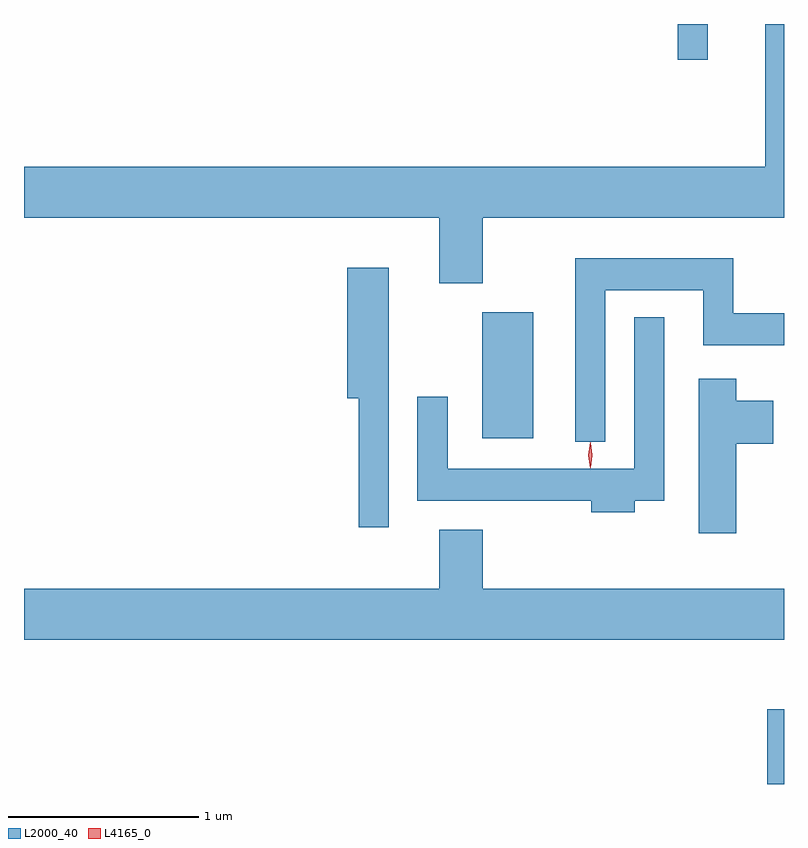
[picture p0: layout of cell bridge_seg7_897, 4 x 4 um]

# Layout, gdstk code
import gdstk
lib = gdstk.Library(unit=1e-6, precision=1e-09)
def R(c, l, rs):  # rectangles x0, y0, x1, y1
    for r in rs: c.add(gdstk.rectangle(r[:2], r[2:], *l))
def P(c, l, *ps):  # polygons
    for p in ps: c.add(gdstk.Polygon(p, *l))
L2000_40 = (2000, 40)
L4165_0 = (4165, 0)

bridge_seg7_897 = lib.new_cell('bridge_seg7_897')
R(bridge_seg7_897, L2000_40, [(425.076,1711.336,425.165,1711.729), (423.576,1713.156,423.844,1713.819), (424.606,1715.148,424.764,1715.336)])
P(bridge_seg7_897, L2000_40, [(423.579,1714.316),(425.165,1714.316),(425.165,1715.336),(425.066,1715.336),(425.066,1714.584),(421.165,1714.584),(421.165,1714.316),(423.351,1714.316),(423.351,1713.971),(423.579,1713.971)],
  [(424.224,1713.936),(424.741,1713.936),(424.741,1713.646),(425.165,1713.646),(425.165,1713.814),(424.899,1713.814),(424.899,1714.104),(424.066,1714.104),(424.066,1713.138),(424.224,1713.138)],
  [(423.084,1714.054),(422.866,1714.054),(422.866,1713.366),(422.926,1713.366),(422.926,1712.688),(423.084,1712.688)],
  [(424.379,1712.826),(424.534,1712.826),(424.534,1713.793),(424.376,1713.793),(424.376,1712.994),(423.394,1712.994),(423.394,1713.373),(423.236,1713.373),(423.236,1712.826),(424.151,1712.826),(424.151,1712.766),(424.379,1712.766)],
  [(424.914,1713.126),(425.109,1713.126),(425.109,1713.354),(424.914,1713.354),(424.914,1713.469),(424.716,1713.469),(424.716,1712.656),(424.914,1712.656)],
  [(425.165,1712.364),(423.579,1712.364),(423.579,1712.674),(423.351,1712.674),(423.351,1712.364),(421.165,1712.364),(421.165,1712.096),(425.165,1712.096)])
P(bridge_seg7_897, L4165_0, [(424.144,1712.997),(424.144,1712.997),(424.134,1713.066),(424.144,1713.136),(424.144,1713.136),(424.145,1713.136),(424.154,1713.066),(424.145,1712.997)],
  [(424.146,1713),(424.137,1713.066),(424.146,1713.132),(424.146,1713.133),(424.147,1713.132),(424.157,1713.066),(424.148,1713),(424.147,1713)])

lib.write_gds('bridge_seg7_897.gds')
